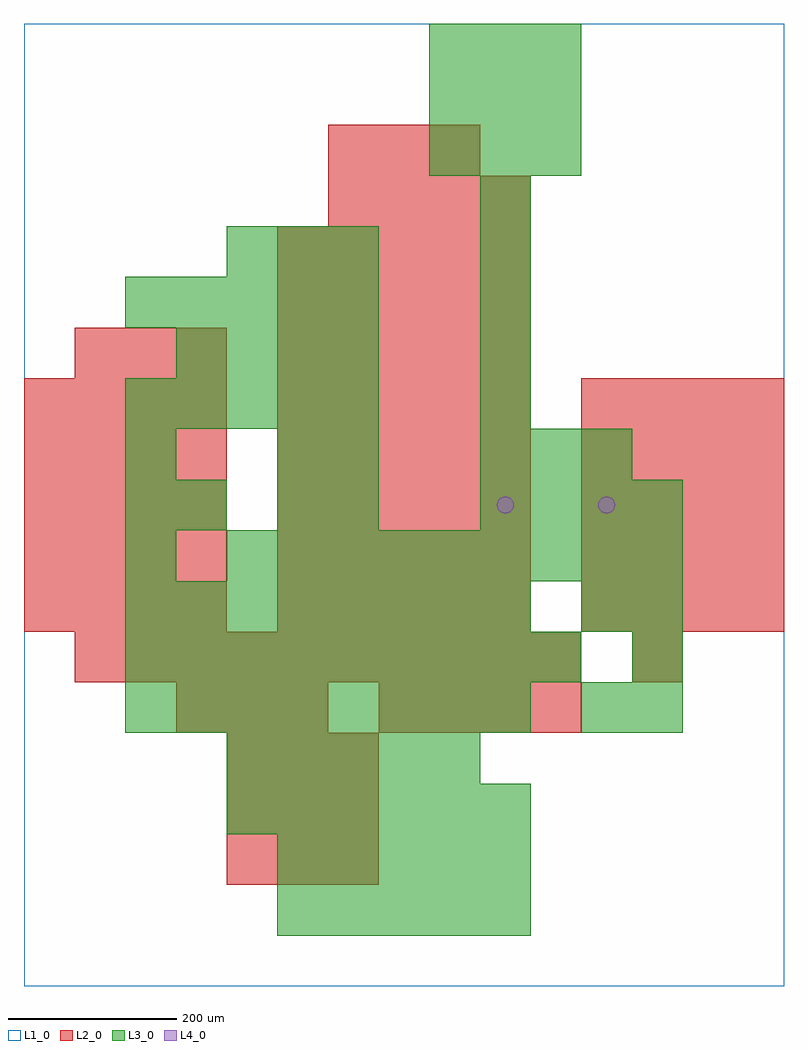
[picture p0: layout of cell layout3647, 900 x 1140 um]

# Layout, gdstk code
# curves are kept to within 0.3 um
import gdstk
lib = gdstk.Library(unit=1e-6, precision=1e-09)
def R(c, l, rs):  # rectangles x0, y0, x1, y1
    for r in rs: c.add(gdstk.rectangle(r[:2], r[2:], *l))
def A(c, l, x, y, w, h, nx, ny, dx, dy):  # array of equal rectangles
    R(c, l, [(x+i*dx, y+j*dy, x+i*dx+w, y+j*dy+h) for i in range(nx) for j in range(ny)])
def P(c, l, *ps):  # polygons
    for p in ps: c.add(gdstk.Polygon(p, *l))
L1_0 = (1, 0)
L2_0 = (2, 0)
L3_0 = (3, 0)
L4_0 = (4, 0)

layout3647 = lib.new_cell('layout3647')
R(layout3647, L1_0, [(0,0,900,1140)])
A(layout3647, L2_0, 240, 120, 60, 60, 3, 3, 60, 60)
A(layout3647, L2_0, 180, 300, 60, 60, 3, 1, 60, 0)
A(layout3647, L2_0, 420, 300, 60, 60, 4, 1, 60, 0)
A(layout3647, L2_0, 60, 360, 60, 60, 10, 1, 60, 0)
A(layout3647, L2_0, 0, 420, 60, 60, 4, 5, 60, 60)
A(layout3647, L2_0, 300, 420, 60, 60, 5, 8, 60, 60)
A(layout3647, L2_0, 660, 420, 60, 60, 4, 5, 60, 60)
A(layout3647, L2_0, 60, 720, 60, 60, 3, 1, 60, 0)
A(layout3647, L2_0, 360, 900, 60, 60, 4, 1, 60, 0)
A(layout3647, L2_0, 360, 960, 60, 60, 3, 1, 60, 0)
R(layout3647, L2_0, [(720,360,780,420)])
A(layout3647, L3_0, 300, 60, 60, 60, 5, 2, 60, 60)
A(layout3647, L3_0, 240, 180, 60, 60, 6, 1, 60, 0)
A(layout3647, L3_0, 240, 240, 60, 60, 5, 1, 60, 0)
A(layout3647, L3_0, 120, 300, 60, 60, 8, 2, 60, 120)
A(layout3647, L3_0, 720, 300, 60, 60, 1, 3, 0, 60)
A(layout3647, L3_0, 120, 360, 60, 60, 9, 1, 60, 0)
A(layout3647, L3_0, 120, 480, 60, 60, 1, 3, 0, 60)
A(layout3647, L3_0, 240, 480, 60, 60, 9, 1, 60, 0)
A(layout3647, L3_0, 540, 540, 60, 60, 4, 1, 60, 0)
A(layout3647, L3_0, 540, 600, 60, 60, 3, 1, 60, 0)
A(layout3647, L3_0, 120, 660, 60, 60, 5, 2, 60, 120)
A(layout3647, L3_0, 540, 660, 60, 60, 1, 5, 0, 60)
A(layout3647, L3_0, 180, 720, 60, 60, 4, 1, 60, 0)
A(layout3647, L3_0, 240, 840, 60, 60, 3, 1, 60, 0)
A(layout3647, L3_0, 480, 960, 60, 60, 3, 3, 60, 60)
R(layout3647, L3_0, [(660,300,720,360), (660,420,720,480), (180,540,240,600), (300,540,360,600), (360,540,420,600), (300,600,360,660), (360,600,420,660)])
P(layout3647, L4_0, [(580,570),(579.239,573.827),(577.071,577.071),(573.827,579.239),(570,580),(566.173,579.239),(562.929,577.071),(560.761,573.827),(560,570),(560.761,566.173),(562.929,562.929),(566.173,560.761),(570,560),(573.827,560.761),(577.071,562.929),(579.239,566.173)],
  [(700,570),(699.239,573.827),(697.071,577.071),(693.827,579.239),(690,580),(686.173,579.239),(682.929,577.071),(680.761,573.827),(680,570),(680.761,566.173),(682.929,562.929),(686.173,560.761),(690,560),(693.827,560.761),(697.071,562.929),(699.239,566.173)])

lib.write_gds('layout3647.gds')
